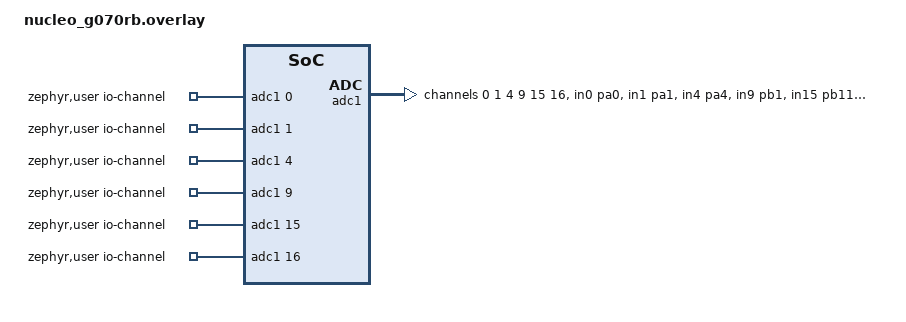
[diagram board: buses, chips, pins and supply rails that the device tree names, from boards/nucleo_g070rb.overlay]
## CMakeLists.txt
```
cmake_minimum_required(VERSION 3.20.0)
find_package(Zephyr REQUIRED HINTS $ENV{ZEPHYR_BASE})
project(adc_multichannel)

target_sources(app PRIVATE src/main.c)
```

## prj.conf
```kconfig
CONFIG_GPIO=y
CONFIG_ADC=y
CONFIG_ADC_STM32=y

# Console/logging for printk
CONFIG_CONSOLE=y
CONFIG_UART_CONSOLE=y
CONFIG_PRINTK=y

# Optional: bump main stack a bit for safety
CONFIG_MAIN_STACK_SIZE=2048
```

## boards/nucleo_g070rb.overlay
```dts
#include <zephyr/dt-bindings/adc/adc.h>

&adc1 {
    pinctrl-0 = <&adc1_in0_pa0 &adc1_in1_pa1 &adc1_in4_pa4
                 &adc1_in9_pb1 &adc1_in15_pb11 &adc1_in16_pb12>;
    pinctrl-names = "default";
    st,adc-clock-source = "SYNC";
    st,adc-prescaler = <4>;
    #address-cells = <1>;
    #size-cells = <0>;
    status = "okay";

    channel@0 {
        reg = <0>;
        zephyr,gain = "ADC_GAIN_1";
        zephyr,reference = "ADC_REF_INTERNAL";
        zephyr,acquisition-time = <ADC_ACQ_TIME_DEFAULT>;
        zephyr,resolution = <12>;
    };

    channel@1 {
        reg = <1>;
        zephyr,gain = "ADC_GAIN_1";
        zephyr,reference = "ADC_REF_INTERNAL";
        zephyr,acquisition-time = <ADC_ACQ_TIME_DEFAULT>;
        zephyr,resolution = <12>;
    };

    channel@4 {
        reg = <4>;
        zephyr,gain = "ADC_GAIN_1";
        zephyr,reference = "ADC_REF_INTERNAL";
        zephyr,acquisition-time = <ADC_ACQ_TIME_DEFAULT>;
        zephyr,resolution = <12>;
    };

    channel@9 {
        reg = <9>;
        zephyr,gain = "ADC_GAIN_1";
        zephyr,reference = "ADC_REF_INTERNAL";
        zephyr,acquisition-time = <ADC_ACQ_TIME_DEFAULT>;
        zephyr,resolution = <12>;
    };

    channel@f {
        reg = <15>;
        zephyr,gain = "ADC_GAIN_1";
        zephyr,reference = "ADC_REF_INTERNAL";
        zephyr,acquisition-time = <ADC_ACQ_TIME_DEFAULT>;
        zephyr,resolution = <12>;
    };

    channel@10 {
        reg = <16>;
        zephyr,gain = "ADC_GAIN_1";
        zephyr,reference = "ADC_REF_INTERNAL";
        zephyr,acquisition-time = <ADC_ACQ_TIME_DEFAULT>;
        zephyr,resolution = <12>;
    };
};

/ {
    zephyr,user {
        io-channels = <&adc1 0>, <&adc1 1>, <&adc1 4>,
                      <&adc1 9>, <&adc1 15>, <&adc1 16>;
    };
};
```

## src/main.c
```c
#include <zephyr/kernel.h>
#include <zephyr/device.h>
#include <zephyr/devicetree.h>
#include <zephyr/drivers/adc.h>
#include <stdio.h>

#define ADC_NODE DT_PATH(zephyr_user)

static const struct adc_dt_spec adc_channels[] = {
    ADC_DT_SPEC_GET_BY_IDX(ADC_NODE, 0), /* CH1 - PA0  */
    ADC_DT_SPEC_GET_BY_IDX(ADC_NODE, 1), /* CH2 - PA1  */
    ADC_DT_SPEC_GET_BY_IDX(ADC_NODE, 2), /* CH3 - PA4  */
    ADC_DT_SPEC_GET_BY_IDX(ADC_NODE, 3), /* CH4 - PB1  */
    ADC_DT_SPEC_GET_BY_IDX(ADC_NODE, 4), /* CH5 - PB11 */
    ADC_DT_SPEC_GET_BY_IDX(ADC_NODE, 5), /* CH6 - PB12 */
};

static const char *channel_names[] = {
    "CH1(PA0)", "CH2(PA1)", "CH3(PA4)",
    "CH4(PB1)", "CH5(PB11)", "CH6(PB12)"
};

int main(void)
{
    int err;
    uint16_t buf;
    struct adc_sequence sequence = {
        .buffer = &buf,
        .buffer_size = sizeof(buf),
    };

    /* Configure each channel */
    for (size_t i = 0; i < ARRAY_SIZE(adc_channels); i++) {
        if (!adc_is_ready_dt(&adc_channels[i])) {
            printk("ADC controller for %s not ready\n", channel_names[i]);
            return 0;
        }

        err = adc_channel_setup_dt(&adc_channels[i]);
        if (err < 0) {
            printk("Could not setup %s (%d)\n", channel_names[i], err);
            return 0;
        }
    }

    while (1) {
        for (size_t i = 0; i < ARRAY_SIZE(adc_channels); i++) {
            (void)adc_sequence_init_dt(&adc_channels[i], &sequence);

            err = adc_read_dt(&adc_channels[i], &sequence);
            if (err < 0) {
                printk("Could not read %s (%d)\n", channel_names[i], err);
                continue;
            }

            int32_t val_mv = buf;
            err = adc_raw_to_millivolts_dt(&adc_channels[i], &val_mv);

            if (err < 0) {
                printk("%s: raw=%d (mV conversion not available)\n",
                       channel_names[i], buf);
            } else {
                printk("%s: raw=%d, %d mV\n", channel_names[i], buf, val_mv);
            }
        }

        printk("----\n");
        k_sleep(K_MSEC(1000));
    }

    return 0;
}
```
